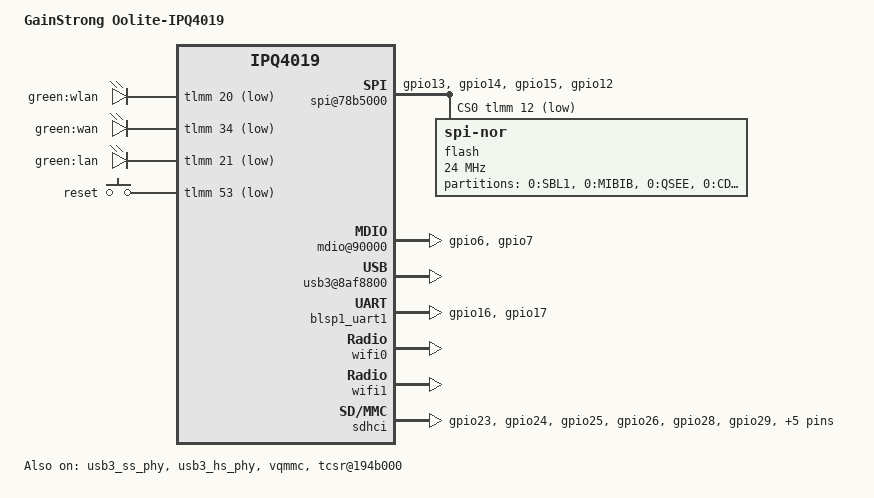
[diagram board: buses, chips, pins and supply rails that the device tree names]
// SPDX-License-Identifier: GPL-2.0-or-later OR MIT

#include "qcom-ipq4019.dtsi"
#include <dt-bindings/gpio/gpio.h>
#include <dt-bindings/input/input.h>
#include <dt-bindings/soc/qcom,tcsr.h>

/ {
	model = "GainStrong Oolite-IPQ4019";
	compatible = "gainstrong,oolite-ipq4019","qcom,ipq4019";

	aliases {
		led-boot = &led_system;
		led-failsafe = &led_system;
		led-running = &led_system;
		led-upgrade = &led_system;
	};

	soc {
		spi@78b5000 {
			pinctrl-0 = <&spi_0_pins>;
			pinctrl-names = "default";
			status = "okay";
			cs-gpios = <&tlmm 12 GPIO_ACTIVE_LOW>;

			flash@0 {
				reg = <0>;
				compatible = "jedec,spi-nor";
				spi-max-frequency = <24000000>;
				broken-flash-reset;

				partitions {
					compatible = "fixed-partitions";
					#address-cells = <1>;
					#size-cells = <1>;

					partition@0 {
						label = "0:SBL1";
						reg = <0x0 0x40000>;
						read-only;
					};
					partition@40000 {
						label = "0:MIBIB";
						reg = <0x40000 0x20000>;
						read-only;
					};
					partition@60000 {
						label = "0:QSEE";
						reg = <0x60000 0x60000>;
						read-only;
					};
					partition@c0000 {
						label = "0:CDT";
						reg = <0xc0000 0x10000>;
					};
					partition@d0000 {
						label = "0:DDRPARAMS";
						reg = <0xd0000 0x10000>;
						read-only;
					};
					partition@e0000 {
						label = "0:APPSBLENV";
						reg = <0xe0000 0x10000>;
					};
					partition@f0000 {
						label = "0:APPSBL";
						reg = <0xf0000 0x80000>;
					};
					partition@170000 {
						label = "0:ART";
						reg = <0x170000 0x10000>;
					};
					firmware: partition@180000 {
						compatible = "denx,fit";
						label = "firmware";
						reg = <0x180000 0x1e80000>;
					};
				};
			};
		};


		rng@22000 {
			status = "okay";
		};

		mdio@90000 {
			status = "okay";
			pinctrl-0 = <&mdio_pins>;
			pinctrl-names = "default";
			phy-reset-gpio = <&tlmm 41 0>;
		};

		ess-psgmii@98000 {
			status = "okay";
		};

		tcsr@1949000 {
			compatible = "qcom,tcsr";
			reg = <0x1949000 0x100>;
			qcom,wifi_glb_cfg = <TCSR_WIFI_GLB_CFG>;
		};

		tcsr@194b000 {
			compatible = "qcom,tcsr";
			reg = <0x194b000 0x100>;
			qcom,usb-hsphy-mode-select = <TCSR_USB_HSPHY_HOST_MODE>;
			status = "okay";
		};

		ess_tcsr@1953000 {
			compatible = "qcom,tcsr";
			reg = <0x1953000 0x1000>;
			qcom,ess-interface-select = <TCSR_ESS_PSGMII>;
		};

		tcsr@1957000 {
			compatible = "qcom,tcsr";
			reg = <0x1957000 0x100>;
			qcom,wifi_noc_memtype_m0_m2 = <TCSR_WIFI_NOC_MEMTYPE_M0_M2>;
		};

		usb3@8af8800 {
			status = "okay";
		};

		watchdog@b017000 {
			status = "okay";
		};

		ess-switch@c000000 {
			status = "okay";
		};

		edma@c080000 {
			status = "okay";
		};

		aliases {
			serial0 = &blsp1_uart1;
		};

		leds {
			compatible = "gpio-leds";

			led_system: led-wlan   { label = "green:wlan";   gpios = <&tlmm 20 GPIO_ACTIVE_LOW>; };
			led-wan { label = "green:wan"; gpios = <&tlmm 34 GPIO_ACTIVE_LOW>; };
			led-lan  { label = "green:lan";  gpios = <&tlmm 21 GPIO_ACTIVE_LOW>; };
		};

		keys {
			compatible = "gpio-keys";

			reset {
				label = "reset";
				gpios = <&tlmm 53 GPIO_ACTIVE_LOW>;
				linux,code = <KEY_RESTART>;
			};
		};
	};
};

&blsp_dma {
	status = "okay";
};

&blsp1_uart1 {
	pinctrl-0 = <&serial_0_pins>;
	pinctrl-names = "default";
	status = "okay";
};

&tlmm {
	mdio_pins: mdio_pinmux {
		mux_1 {
			pins = "gpio6";
			function = "mdio";
			bias-pull-up;
		};
		mux_2 {
			pins = "gpio7";
			function = "mdc";
			bias-pull-up;
		};
	};

	serial_0_pins: serial0-pinmux {
		mux {
			pins = "gpio16", "gpio17";
			function = "blsp_uart0";
			bias-disable;
		};
	};

	spi_0_pins: spi_0_pinmux {
		pinmux {
			function = "blsp_spi0";
			pins = "gpio13", "gpio14", "gpio15";
			drive-strength = <12>;
			bias-disable;
		};

		pinmux_cs {
			function = "gpio";
			pins = "gpio12";
			drive-strength = <2>;
			bias-disable;
			output-high;
		};
	};

	sd_pins: sd_pins {
		pinmux {
			function = "sdio";
			pins = "gpio23", "gpio24", "gpio25", "gpio26",
				"gpio28", "gpio29", "gpio30", "gpio31";
			drive-strength = <10>;
		};

		pinmux_sd_clk {
			function = "sdio";
			pins = "gpio27";
			drive-strength = <16>;
		};

		pinmux_sd7 {
			function = "sdio";
			pins = "gpio32";
			drive-strength = <10>;
			bias-disable;
		};
	};
};

&usb3_ss_phy {
	status = "okay";
};

&usb3_hs_phy {
	status = "okay";
};

&wifi0 {
	status = "okay";
	qcom,ath10k-calibration-variant = "Oolite-IPQ4019";
};

&wifi1 {
	status = "okay";
	qcom,ath10k-calibration-variant = "Oolite-IPQ4019";
};

&vqmmc {
	status = "okay";
};

&sdhci {
	status = "okay";

	pinctrl-0 = <&sd_pins>;
	pinctrl-names = "default";
	cd-gpios = <&tlmm 22 GPIO_ACTIVE_LOW>;
	vqmmc-supply = <&vqmmc>;
};
